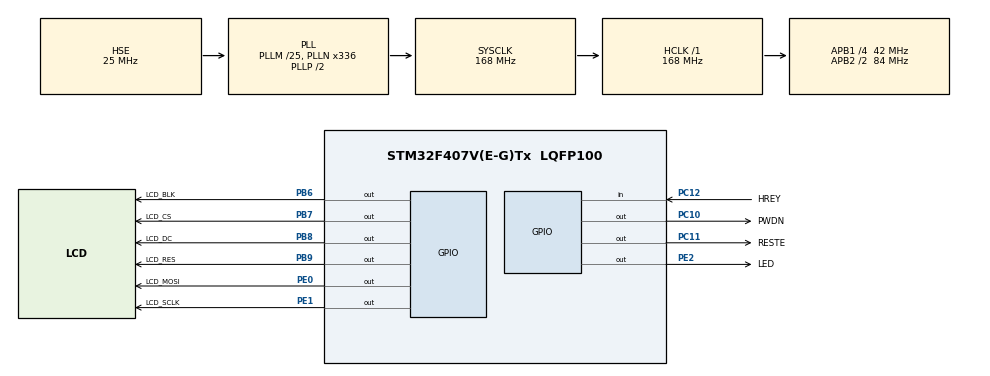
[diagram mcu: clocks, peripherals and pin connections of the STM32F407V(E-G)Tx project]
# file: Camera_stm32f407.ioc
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Mcu.Family=STM32F4
Mcu.Name=STM32F407V(E-G)Tx
Mcu.Package=LQFP100
NVIC.PriorityGroup=NVIC_PRIORITYGROUP_4
PA13.Mode=Serial_Wire
PA13.Signal=SYS_JTMS-SWDIO
PA14.Mode=Serial_Wire
PA14.Signal=SYS_JTCK-SWCLK
PB6.GPIO_Label=LCD_BLK
PB6.PinState=GPIO_PIN_SET
PB6.Signal=GPIO_Output
PB7.GPIO_Label=LCD_CS
PB7.PinState=GPIO_PIN_SET
PB7.Signal=GPIO_Output
PB8.GPIO_Label=LCD_DC
PB8.PinState=GPIO_PIN_SET
PB8.Signal=GPIO_Output
PB9.GPIO_Label=LCD_RES
PB9.PinState=GPIO_PIN_SET
PB9.Signal=GPIO_Output
PC10.GPIO_Label=PWDN
PC10.Signal=GPIO_Output
PC11.GPIO_Label=RESTE
PC11.PinState=GPIO_PIN_SET
PC11.Signal=GPIO_Output
PC12.GPIO_Label=HREY
PC12.GPIO_PuPd=GPIO_PULLUP
PC12.Signal=GPIO_Input
PE0.GPIO_Label=LCD_MOSI
PE0.PinState=GPIO_PIN_SET
PE0.Signal=GPIO_Output
PE1.GPIO_Label=LCD_SCLK
PE1.PinState=GPIO_PIN_SET
PE1.Signal=GPIO_Output
PE2.GPIO_Label=LED
PE2.PinState=GPIO_PIN_RESET
PE2.Signal=GPIO_Output
PH0-OSC_IN.Mode=HSE-External-Oscillator
PH0-OSC_IN.Signal=RCC_OSC_IN
PH1-OSC_OUT.Mode=HSE-External-Oscillator
PH1-OSC_OUT.Signal=RCC_OSC_OUT
ProjectManager.HeapSize=0x200
ProjectManager.StackSize=0x400
ProjectManager.TargetToolchain=MDK-ARM V5.32
RCC.48MHZClocksFreq_Value=84000000
RCC.AHBFreq_Value=168000000
RCC.APB1CLKDivider=RCC_HCLK_DIV4
RCC.APB1Freq_Value=42000000
RCC.APB1TimFreq_Value=84000000
RCC.APB2CLKDivider=RCC_HCLK_DIV2
RCC.APB2Freq_Value=84000000
RCC.APB2TimFreq_Value=168000000
RCC.CortexFreq_Value=168000000
RCC.HCLKFreq_Value=168000000
RCC.HSE_VALUE=25000000
RCC.HSI_VALUE=16000000
RCC.LSE_VALUE=32768
RCC.PLLM=25
RCC.PLLN=336
RCC.PLLSourceVirtual=RCC_PLLSOURCE_HSE
RCC.SYSCLKFreq_VALUE=168000000
RCC.SYSCLKSource=RCC_SYSCLKSOURCE_PLLCLK
RCC.VCOOutputFreq_Value=336000000
board=custom

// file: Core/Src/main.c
/* USER CODE BEGIN Header */
/**
  ******************************************************************************
  * @file           : main.c
  * @brief          : Main program body
  ******************************************************************************
  * @attention
  *
  * Copyright (c) 2026 STMicroelectronics.
  * All rights reserved.
  *
  * This software is licensed under terms that can be found in the LICENSE file
  * in the root directory of this software component.
  * If no LICENSE file comes with this software, it is provided AS-IS.
  *
  ******************************************************************************
  */
/* USER CODE END Header */
#include "main.h"
#include "gpio.h"

/* USER CODE BEGIN Includes */
#include <stdlib.h> // 为了使用 abs() 函数
#include "lcd.h"
#include "lcd_init.h"
#include "pic.h"
#include "HAL_Delay.h"
#include "sccb.h"
#include "ov7670.h"
#include "user_exti.h"
#include "FPGA_connect.h"

/* USER CODE END Includes */

void SystemClock_Config(void);
/* USER CODE BEGIN PFP */
uint8_t frame_buf[IMG_WIDTH * IMG_HEIGHT * 2];

//uint32_t value = 0;
/* USER CODE END PFP */

/* USER CODE BEGIN 0 */

void OV7670_tftlcd(void)
{
	uint16_t i, j;
	uint32_t idx = 0;

	if(frame_flag)
	{
		for(i = 0; i < IMG_HEIGHT; i++)
		{
			for(j = 0; j < IMG_WIDTH; j++)
			{
				// 等待 FPGA 拉高 PC8
                while (HAL_GPIO_ReadPin(GPIOC, GPIO_PIN_8) == GPIO_PIN_RESET);

                uint16_t pixel = (uint16_t)(GPIOE->IDR & 0xFFFF);

                // 将像素拆分为两个字节存入 frame_buf（保持 RGB565 格式）
                frame_buf[idx]     = (uint8_t)(pixel >> 8);   // 高字节
                frame_buf[idx + 1] = (uint8_t)(pixel & 0xFF); // 低字节
                idx += 2;
			}
		}
		//value = idx; //看一帧有多少字节
		LCD_ShowPicture(40, 0, IMG_WIDTH, IMG_HEIGHT, frame_buf);
		frame_cnt++;
		frame_flag = 0;
//		EXTI->IMR |= (1U << 3);
	}
}
/* USER CODE END 0 */

int main(void)
{

  /* MCU Configuration--------------------------------------------------------*/

  /* Reset of all peripherals, Initializes the Flash interface and the Systick. */
  HAL_Init();

  /* Configure the system clock */
  SystemClock_Config();

  /* Initialize all configured peripherals */
  MX_GPIO_Init();
  /* USER CODE BEGIN 2 */
  LCD_Init();
  OV7670_Init();
  FPGA_DATA_Init();
  //OV7670_Window_Set(12, 3, 183, 144);
  FPGA_PC8_Init();
  OV7670_PB3_EXTI_Init();
  HAL_GPIO_WritePin(GPIOA, GPIO_PIN_8, GPIO_PIN_RESET);  //OE PA8 低有效输出

  LCD_Fill(0,0,LCD_W,LCD_H,BLUE);//指定区域填充颜色

  uint8_t val1 = SCCB_Read_Reg(0x12);  //读取寄存器
	uint8_t val2 = SCCB_Read_Reg(0x40);  //读取寄存器
	uint8_t val3 = SCCB_Read_Reg(0x70);  //读取寄存器
	uint8_t val4 = SCCB_Read_Reg(0x71);  //读取寄存器
	uint8_t val5 = SCCB_Read_Reg(0x3a);  //读取寄存器
	uint8_t val6 = GPIOD->IDR;
  /* USER CODE END 2 */

  /* Infinite loop */
  while (1)
  {

    /* USER CODE BEGIN 3 */

	  OV7670_tftlcd();
	  if(HAL_GetTick() - start_tick >= 1000)
      {
        fps = frame_cnt;       //把这一秒的帧数赋值给fps
        frame_cnt = 0;         //清零计数器，重新统计下一秒
        start_tick = HAL_GetTick(); //重置计时起点
      }

	LCD_ShowIntNum(48,150,fps,3,RED,WHITE,16);
	LCD_ShowHexNum(80, 150, val1, 3, RED, WHITE, 16);
	LCD_ShowHexNum(120, 150, val2, 3, RED, WHITE, 16);
	LCD_ShowHexNum(160, 150, val3, 3, RED, WHITE, 16);
	LCD_ShowHexNum(200, 150, val4, 3, RED, WHITE, 16);
	LCD_ShowHexNum(48, 190, val5, 3, RED, WHITE, 16);
  }
  /* USER CODE END 3 */
}

void SystemClock_Config(void)
{
  RCC_OscInitTypeDef RCC_OscInitStruct = {0};
  RCC_ClkInitTypeDef RCC_ClkInitStruct = {0};

  /** Configure the main internal regulator output voltage
  */
  __HAL_RCC_PWR_CLK_ENABLE();
  __HAL_PWR_VOLTAGESCALING_CONFIG(PWR_REGULATOR_VOLTAGE_SCALE1);

  /** Initializes the RCC Oscillators according to the specified parameters
  * in the RCC_OscInitTypeDef structure.
  */
  RCC_OscInitStruct.OscillatorType = RCC_OSCILLATORTYPE_HSE;
  RCC_OscInitStruct.HSEState = RCC_HSE_ON;
  RCC_OscInitStruct.PLL.PLLState = RCC_PLL_ON;
  RCC_OscInitStruct.PLL.PLLSource = RCC_PLLSOURCE_HSE;
  RCC_OscInitStruct.PLL.PLLM = 25;
  RCC_OscInitStruct.PLL.PLLN = 336;
  RCC_OscInitStruct.PLL.PLLP = RCC_PLLP_DIV2;
  RCC_OscInitStruct.PLL.PLLQ = 4;
  if (HAL_RCC_OscConfig(&RCC_OscInitStruct) != HAL_OK)
  {
    Error_Handler();
  }

  /** Initializes the CPU, AHB and APB buses clocks
  */
  RCC_ClkInitStruct.ClockType = RCC_CLOCKTYPE_HCLK|RCC_CLOCKTYPE_SYSCLK
                              |RCC_CLOCKTYPE_PCLK1|RCC_CLOCKTYPE_PCLK2;
  RCC_ClkInitStruct.SYSCLKSource = RCC_SYSCLKSOURCE_PLLCLK;
  RCC_ClkInitStruct.AHBCLKDivider = RCC_SYSCLK_DIV1;
  RCC_ClkInitStruct.APB1CLKDivider = RCC_HCLK_DIV4;
  RCC_ClkInitStruct.APB2CLKDivider = RCC_HCLK_DIV2;

  if (HAL_RCC_ClockConfig(&RCC_ClkInitStruct, FLASH_LATENCY_5) != HAL_OK)
  {
    Error_Handler();
  }
}

void Error_Handler(void)
{
  __disable_irq();
  while (1)
  {
  }
}
